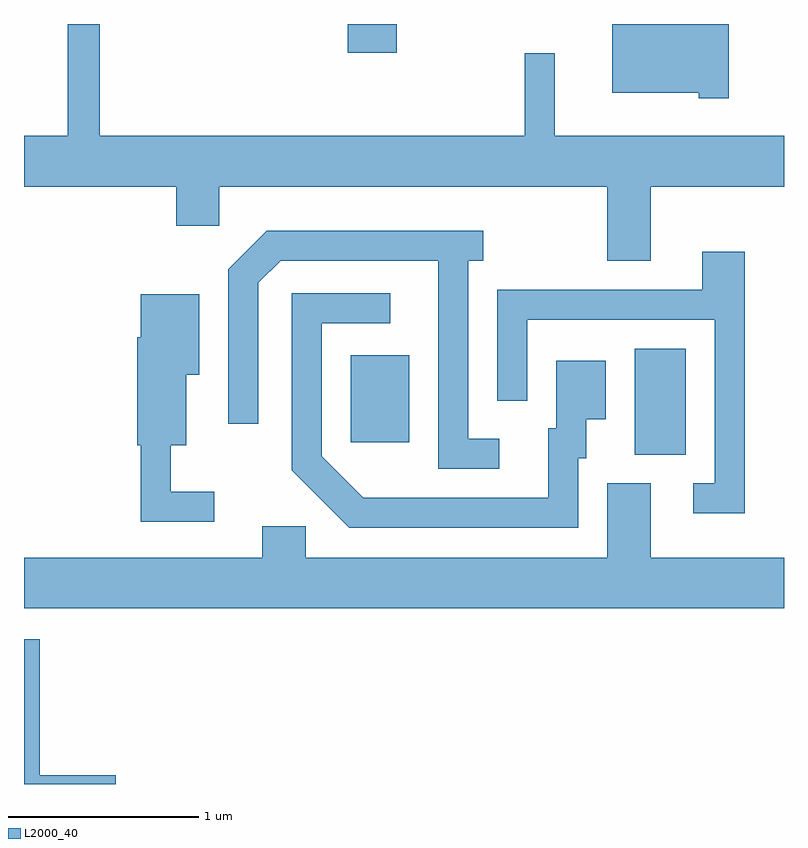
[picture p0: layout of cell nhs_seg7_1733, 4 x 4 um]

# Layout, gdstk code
import gdstk
lib = gdstk.Library(unit=1e-6, precision=1e-09)
def R(c, l, rs):  # rectangles x0, y0, x1, y1
    for r in rs: c.add(gdstk.rectangle(r[:2], r[2:], *l))
def P(c, l, *ps):  # polygons
    for p in ps: c.add(gdstk.Polygon(p, *l))
L2000_40 = (2000, 40)

nhs_seg7_1733 = lib.new_cell('nhs_seg7_1733')
R(nhs_seg7_1733, L2000_40, [(240.826,1743.986,241.094,1744.544), (239.331,1744.051,239.639,1744.509), (239.316,1746.101,239.574,1746.252)])
P(nhs_seg7_1733, L2000_40, [(238.009,1746.252),(237.841,1746.252),(237.841,1745.664),(237.611,1745.664),(237.611,1745.396),(238.411,1745.396),(238.411,1745.191),(238.639,1745.191),(238.639,1745.396),(240.681,1745.396),(240.681,1745.006),(240.909,1745.006),(240.909,1745.396),(241.611,1745.396),(241.611,1745.664),(240.404,1745.664),(240.404,1746.098),(240.246,1746.098),(240.246,1745.664),(238.009,1745.664)],
  [(241.319,1746.252),(240.706,1746.252),(240.706,1745.891),(241.161,1745.891),(241.161,1745.861),(241.319,1745.861)],
  [(240.113,1744.069),(239.949,1744.069),(239.949,1745.006),(240.028,1745.006),(240.028,1745.164),(238.889,1745.164),(238.686,1744.962),(238.686,1744.148),(238.844,1744.148),(238.844,1744.889),(238.962,1745.006),(239.791,1745.006),(239.791,1743.911),(240.113,1743.911)],
  [(241.404,1745.054),(241.181,1745.054),(241.181,1744.854),(240.101,1744.854),(240.101,1744.268),(240.259,1744.268),(240.259,1744.696),(241.246,1744.696),(241.246,1743.834),(241.133,1743.834),(241.133,1743.676),(241.404,1743.676)],
  [(240.529,1743.966),(240.569,1743.966),(240.569,1744.171),(240.674,1744.171),(240.674,1744.479),(240.411,1744.479),(240.411,1744.124),(240.371,1744.124),(240.371,1743.759),(239.397,1743.759),(239.179,1743.977),(239.179,1744.676),(239.538,1744.676),(239.538,1744.834),(239.021,1744.834),(239.021,1743.904),(239.324,1743.601),(240.529,1743.601)],
  [(238.613,1743.789),(238.384,1743.789),(238.384,1744.036),(238.464,1744.036),(238.464,1744.406),(238.534,1744.406),(238.534,1744.829),(238.226,1744.829),(238.226,1744.604),(238.206,1744.604),(238.206,1744.036),(238.226,1744.036),(238.226,1743.631),(238.613,1743.631)],
  [(241.611,1743.444),(240.909,1743.444),(240.909,1743.834),(240.681,1743.834),(240.681,1743.444),(239.094,1743.444),(239.094,1743.609),(238.866,1743.609),(238.866,1743.444),(237.611,1743.444),(237.611,1743.176),(241.611,1743.176)],
  [(238.094,1742.299),(237.694,1742.299),(237.694,1743.014),(237.611,1743.014),(237.611,1742.252),(238.094,1742.252)])

lib.write_gds('nhs_seg7_1733.gds')
